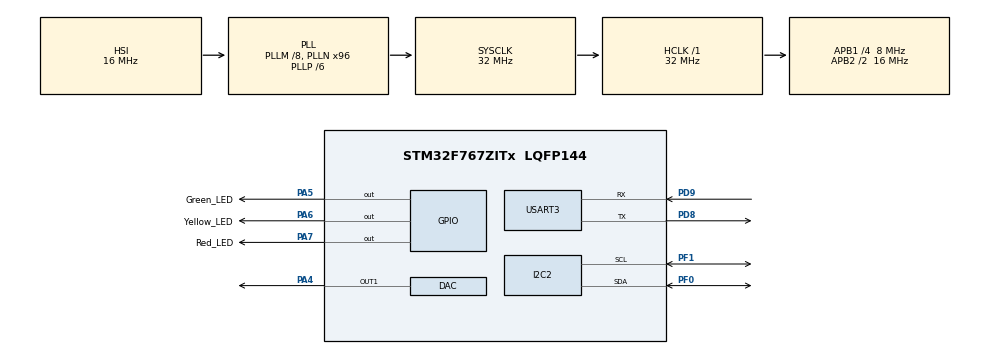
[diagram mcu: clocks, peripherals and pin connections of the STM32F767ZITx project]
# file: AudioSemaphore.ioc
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CORTEX_M7.default_mode_Activation=1
DAC.DAC_Trigger=DAC_TRIGGER_NONE
Dma.DAC1.0.Direction=DMA_MEMORY_TO_PERIPH
Dma.DAC1.0.FIFOMode=DMA_FIFOMODE_DISABLE
Dma.DAC1.0.Instance=DMA1_Stream5
Dma.DAC1.0.MemDataAlignment=DMA_MDATAALIGN_HALFWORD
Dma.DAC1.0.MemInc=DMA_MINC_ENABLE
Dma.DAC1.0.Mode=DMA_CIRCULAR
Dma.DAC1.0.PeriphDataAlignment=DMA_PDATAALIGN_HALFWORD
Dma.DAC1.0.PeriphInc=DMA_PINC_DISABLE
Dma.DAC1.0.Priority=DMA_PRIORITY_LOW
Dma.Request0=DAC1
FREERTOS.Tasks01=decibelMeterTas,2,128,decibelMeterHook,Default,NULL,Dynamic,NULL,NULL;semaphoreTask,2,128,semaphoreHook,Default,NULL,Dynamic,NULL,NULL;speakerTask,3,128,speakerHook,Default,NULL,Dynamic,NULL,NULL
I2C2.Timing=0x2000090E
Mcu.Family=STM32F7
Mcu.Name=STM32F767ZITx
Mcu.Package=LQFP144
NVIC.DMA1_Stream5_IRQn=true\:5\:0\:false\:false\:true\:true\:false\:true\:true
NVIC.I2C2_ER_IRQn=true\:5\:0\:false\:false\:true\:true\:true\:true\:true
NVIC.I2C2_EV_IRQn=true\:5\:0\:false\:false\:true\:true\:true\:true\:true
NVIC.PriorityGroup=NVIC_PRIORITYGROUP_4
NVIC.USART3_IRQn=true\:5\:0\:false\:false\:true\:true\:true\:true\:true
PA4.Signal=COMP_DAC1_group
PA5.GPIO_Label=Green_LED
PA5.Signal=GPIO_Output
PA6.GPIO_Label=Yellow_LED
PA6.Signal=GPIO_Output
PA7.GPIO_Label=Red_LED
PA7.Signal=GPIO_Output
PD8.Mode=Asynchronous
PD8.Signal=USART3_TX
PD9.Mode=Asynchronous
PD9.Signal=USART3_RX
PF0.GPIO_Pu=GPIO_PULLUP
PF0.Mode=I2C
PF0.Signal=I2C2_SDA
PF1.GPIO_Pu=GPIO_PULLUP
PF1.Mode=I2C
PF1.Signal=I2C2_SCL
ProjectManager.HeapSize=0x200
ProjectManager.StackSize=0x400
ProjectManager.TargetToolchain=STM32CubeIDE
RCC.AHBFreq_Value=32000000
RCC.APB1CLKDivider=RCC_HCLK_DIV4
RCC.APB1Freq_Value=8000000
RCC.APB1TimFreq_Value=16000000
RCC.APB2CLKDivider=RCC_HCLK_DIV2
RCC.APB2Freq_Value=16000000
RCC.APB2TimFreq_Value=32000000
RCC.CortexFreq_Value=32000000
RCC.HCLKFreq_Value=32000000
RCC.HSE_VALUE=25000000
RCC.HSI_VALUE=16000000
RCC.LSE_VALUE=32768
RCC.PLLM=8
RCC.PLLN=96
RCC.PLLP=RCC_PLLP_DIV6
RCC.SYSCLKFreq_VALUE=32000000
RCC.SYSCLKSource=RCC_SYSCLKSOURCE_PLLCLK
RCC.USBFreq_Value=96000000
RCC.VCOOutputFreq_Value=192000000
SH.COMP_DAC1_group.0=DAC_OUT1,DAC_OUT1
USART3.VirtualMode-Asynchronous=VM_ASYNC
VP_FREERTOS_VS_CMSIS_V1.Mode=CMSIS_V1
board=custom

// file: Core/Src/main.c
/* USER CODE BEGIN Header */
/**
  ******************************************************************************
  * @file           : main.c
  * @brief          : Main program body
  ******************************************************************************
  * @attention
  *
  * Copyright (c) 2024 STMicroelectronics.
  * All rights reserved.
  *
  * This software is licensed under terms that can be found in the LICENSE file
  * in the root directory of this software component.
  * If no LICENSE file comes with this software, it is provided AS-IS.
  *
  ******************************************************************************
  */
/* USER CODE END Header */
#include "main.h"
#include "cmsis_os.h"

/* USER CODE BEGIN Includes */
#include "math.h"
/* USER CODE END Includes */

/* USER CODE BEGIN PD */
#define threshold_worst 90
#define threshold_bad 80
/* USER CODE END PD */

DAC_HandleTypeDef hdac;
DMA_HandleTypeDef hdma_dac1;

I2C_HandleTypeDef hi2c2;

UART_HandleTypeDef huart3;

osThreadId decibelMeterTasHandle;
osThreadId semaphoreTaskHandle;
osThreadId speakerTaskHandle;
/* USER CODE BEGIN PV */
uint8_t decibels;

/* USER CODE END PV */

void SystemClock_Config(void);
static void MPU_Config(void);
static void MX_GPIO_Init(void);
static void MX_DMA_Init(void);
static void MX_DAC_Init(void);
static void MX_I2C2_Init(void);
static void MX_USART3_UART_Init(void);
void decibelMeterHook(void const * argument);
void semaphoreHook(void const * argument);
void speakerHook(void const * argument);

int main(void)
{

  /* MPU Configuration--------------------------------------------------------*/
  MPU_Config();

  /* MCU Configuration--------------------------------------------------------*/

  /* Reset of all peripherals, Initializes the Flash interface and the Systick. */
  HAL_Init();

  /* Configure the system clock */
  SystemClock_Config();

  /* Initialize all configured peripherals */
  MX_GPIO_Init();
  MX_DMA_Init();
  MX_DAC_Init();
  MX_I2C2_Init();
  MX_USART3_UART_Init();
  /* USER CODE BEGIN 2 */
  HAL_DAC_Start(&hdac, DAC1_CHANNEL_1);
  for (uint8_t addr = 0; addr < 128; addr++) {
      if (HAL_I2C_IsDeviceReady(&hi2c2, addr << 1, 1, HAL_MAX_DELAY) == HAL_OK) {
          char msg[30];
          sprintf(msg, "Device found at 0x%02X\r\n", addr);
          HAL_UART_Transmit(&huart3, (uint8_t *)msg, strlen(msg), HAL_MAX_DELAY);
          break;
      }
  }

  char start_msg[] = "Listening for audio\r\n";
  HAL_UART_Transmit(&huart3, (uint8_t *)start_msg, strlen(start_msg), HAL_MAX_DELAY);

  /* USER CODE END 2 */

  /* Create the thread(s) */
  /* definition and creation of decibelMeterTas */
  osThreadDef(decibelMeterTas, decibelMeterHook, osPriorityHigh, 0, 128);
  decibelMeterTasHandle = osThreadCreate(osThread(decibelMeterTas), NULL);

  /* definition and creation of semaphoreTask */
  osThreadDef(semaphoreTask, semaphoreHook, osPriorityHigh, 0, 128);
  semaphoreTaskHandle = osThreadCreate(osThread(semaphoreTask), NULL);

  /* definition and creation of speakerTask */
  osThreadDef(speakerTask, speakerHook, osPriorityRealtime, 0, 128);
  speakerTaskHandle = osThreadCreate(osThread(speakerTask), NULL);

  /* Start scheduler */
  osKernelStart();

  /* We should never get here as control is now taken by the scheduler */

  /* Infinite loop */
  while (1)
  {

  }
}

void SystemClock_Config(void)
{
  RCC_OscInitTypeDef RCC_OscInitStruct = {0};
  RCC_ClkInitTypeDef RCC_ClkInitStruct = {0};

  /** Configure the main internal regulator output voltage
  */
  __HAL_RCC_PWR_CLK_ENABLE();
  __HAL_PWR_VOLTAGESCALING_CONFIG(PWR_REGULATOR_VOLTAGE_SCALE3);

  /** Initializes the RCC Oscillators according to the specified parameters
  * in the RCC_OscInitTypeDef structure.
  */
  RCC_OscInitStruct.OscillatorType = RCC_OSCILLATORTYPE_HSI;
  RCC_OscInitStruct.HSIState = RCC_HSI_ON;
  RCC_OscInitStruct.HSICalibrationValue = RCC_HSICALIBRATION_DEFAULT;
  RCC_OscInitStruct.PLL.PLLState = RCC_PLL_ON;
  RCC_OscInitStruct.PLL.PLLSource = RCC_PLLSOURCE_HSI;
  RCC_OscInitStruct.PLL.PLLM = 8;
  RCC_OscInitStruct.PLL.PLLN = 96;
  RCC_OscInitStruct.PLL.PLLP = RCC_PLLP_DIV6;
  RCC_OscInitStruct.PLL.PLLQ = 2;
  RCC_OscInitStruct.PLL.PLLR = 2;
  if (HAL_RCC_OscConfig(&RCC_OscInitStruct) != HAL_OK)
  {
    Error_Handler();
  }

  /** Initializes the CPU, AHB and APB buses clocks
  */
  RCC_ClkInitStruct.ClockType = RCC_CLOCKTYPE_HCLK|RCC_CLOCKTYPE_SYSCLK
                              |RCC_CLOCKTYPE_PCLK1|RCC_CLOCKTYPE_PCLK2;
  RCC_ClkInitStruct.SYSCLKSource = RCC_SYSCLKSOURCE_PLLCLK;
  RCC_ClkInitStruct.AHBCLKDivider = RCC_SYSCLK_DIV1;
  RCC_ClkInitStruct.APB1CLKDivider = RCC_HCLK_DIV4;
  RCC_ClkInitStruct.APB2CLKDivider = RCC_HCLK_DIV2;

  if (HAL_RCC_ClockConfig(&RCC_ClkInitStruct, FLASH_LATENCY_1) != HAL_OK)
  {
    Error_Handler();
  }
}

static void MX_DAC_Init(void)
{

  DAC_ChannelConfTypeDef sConfig = {0};

  /** DAC Initialization
  */
  hdac.Instance = DAC;
  if (HAL_DAC_Init(&hdac) != HAL_OK)
  {
    Error_Handler();
  }

  /** DAC channel OUT1 config
  */
  sConfig.DAC_Trigger = DAC_TRIGGER_NONE;
  sConfig.DAC_OutputBuffer = DAC_OUTPUTBUFFER_ENABLE;
  if (HAL_DAC_ConfigChannel(&hdac, &sConfig, DAC_CHANNEL_1) != HAL_OK)
  {
    Error_Handler();
  }

}

static void MX_I2C2_Init(void)
{

  hi2c2.Instance = I2C2;
  hi2c2.Init.Timing = 0x2000090E;
  hi2c2.Init.OwnAddress1 = 0;
  hi2c2.Init.AddressingMode = I2C_ADDRESSINGMODE_7BIT;
  hi2c2.Init.DualAddressMode = I2C_DUALADDRESS_DISABLE;
  hi2c2.Init.OwnAddress2 = 0;
  hi2c2.Init.OwnAddress2Masks = I2C_OA2_NOMASK;
  hi2c2.Init.GeneralCallMode = I2C_GENERALCALL_DISABLE;
  hi2c2.Init.NoStretchMode = I2C_NOSTRETCH_DISABLE;
  if (HAL_I2C_Init(&hi2c2) != HAL_OK)
  {
    Error_Handler();
  }

  /** Configure Analogue filter
  */
  if (HAL_I2CEx_ConfigAnalogFilter(&hi2c2, I2C_ANALOGFILTER_ENABLE) != HAL_OK)
  {
    Error_Handler();
  }

  /** Configure Digital filter
  */
  if (HAL_I2CEx_ConfigDigitalFilter(&hi2c2, 0) != HAL_OK)
  {
    Error_Handler();
  }

}

static void MX_USART3_UART_Init(void)
{

  huart3.Instance = USART3;
  huart3.Init.BaudRate = 115200;
  huart3.Init.WordLength = UART_WORDLENGTH_8B;
  huart3.Init.StopBits = UART_STOPBITS_1;
  huart3.Init.Parity = UART_PARITY_NONE;
  huart3.Init.Mode = UART_MODE_TX_RX;
  huart3.Init.HwFlowCtl = UART_HWCONTROL_NONE;
  huart3.Init.OverSampling = UART_OVERSAMPLING_16;
  huart3.Init.OneBitSampling = UART_ONE_BIT_SAMPLE_DISABLE;
  huart3.AdvancedInit.AdvFeatureInit = UART_ADVFEATURE_NO_INIT;
  if (HAL_UART_Init(&huart3) != HAL_OK)
  {
    Error_Handler();
  }

}

static void MX_DMA_Init(void)
{

  /* DMA controller clock enable */
  __HAL_RCC_DMA1_CLK_ENABLE();

  /* DMA interrupt init */
  /* DMA1_Stream5_IRQn interrupt configuration */
  HAL_NVIC_SetPriority(DMA1_Stream5_IRQn, 5, 0);
  HAL_NVIC_EnableIRQ(DMA1_Stream5_IRQn);

}

static void MX_GPIO_Init(void)
{
  GPIO_InitTypeDef GPIO_InitStruct = {0};

  /* GPIO Ports Clock Enable */
  __HAL_RCC_GPIOF_CLK_ENABLE();
  __HAL_RCC_GPIOA_CLK_ENABLE();
  __HAL_RCC_GPIOD_CLK_ENABLE();

  /*Configure GPIO pin Output Level */
  HAL_GPIO_WritePin(GPIOA, Green_LED_Pin|Yellow_LED_Pin|Red_LED_Pin, GPIO_PIN_RESET);

  /*Configure GPIO pins : Green_LED_Pin Yellow_LED_Pin Red_LED_Pin */
  GPIO_InitStruct.Pin = Green_LED_Pin|Yellow_LED_Pin|Red_LED_Pin;
  GPIO_InitStruct.Mode = GPIO_MODE_OUTPUT_PP;
  GPIO_InitStruct.Pull = GPIO_NOPULL;
  GPIO_InitStruct.Speed = GPIO_SPEED_FREQ_LOW;
  HAL_GPIO_Init(GPIOA, &GPIO_InitStruct);

}

void decibelMeterHook(void const * argument)
{
  /* USER CODE BEGIN 5 */
  TickType_t ticks = pdMS_TO_TICKS(400);

  /* Infinite loop */
  for(;;)
  {
	vTaskDelay(ticks);
	if (HAL_I2C_Mem_Write(&hi2c2, 0x91, 0x0A, I2C_MEMADD_SIZE_8BIT, 0x0A, 1, HAL_MAX_DELAY) != HAL_OK) {
	  char error_msg[] = "I2C Mem Write Error\r\n";
	  HAL_UART_Transmit(&huart3, (uint8_t *)error_msg, strlen(error_msg), HAL_MAX_DELAY);
	  continue;
	}

	if (HAL_I2C_Mem_Read(&hi2c2, 0x91, 0x0A, I2C_MEMADD_SIZE_8BIT, &decibels, 1, HAL_MAX_DELAY) != HAL_OK) {
	  char error_msg[] = "I2C Mem Read Error\r\n";
	  HAL_UART_Transmit(&huart3, (uint8_t *)error_msg, strlen(error_msg), HAL_MAX_DELAY);
	  continue;
	}

	char msg[20];
	sprintf(msg, "Sound level: %d dB\r\n", decibels);
	HAL_UART_Transmit(&huart3, (uint8_t *)msg, strlen(msg), HAL_MAX_DELAY);
  }
  /* USER CODE END 5 */
}

void semaphoreHook(void const * argument)
{
  /* USER CODE BEGIN semaphoreHook */
  TickType_t ticks = pdMS_TO_TICKS(2);
  /* Infinite loop */
  for(;;)
  {
	  HAL_GPIO_WritePin(Green_LED_GPIO_Port, Green_LED_Pin | Red_LED_Pin | Yellow_LED_Pin, GPIO_PIN_RESET);
	  if (decibels >= threshold_worst) {
		  HAL_GPIO_WritePin(Red_LED_GPIO_Port, Red_LED_Pin, GPIO_PIN_SET);
	  } else if (decibels >= threshold_bad) {
		  HAL_GPIO_WritePin(Yellow_LED_GPIO_Port, Yellow_LED_Pin, GPIO_PIN_SET);
	  } else {
		  HAL_GPIO_WritePin(Green_LED_GPIO_Port, Green_LED_Pin, GPIO_PIN_SET);
	  }

	  vTaskDelay(ticks);
  }
  /* USER CODE END semaphoreHook */
}

void speakerHook(void const * argument)
{
  /* USER CODE BEGIN speakerHook */
  TickType_t ticks = pdMS_TO_TICKS(1);
  TickType_t wait = pdMS_TO_TICKS(100);

  /* Infinite loop */
  for(;;) {
      if (decibels >= threshold_worst) {
          HAL_DAC_SetValue(&hdac, DAC_CHANNEL_1, DAC_ALIGN_12B_R, 0);
          vTaskDelay(ticks);
          HAL_DAC_SetValue(&hdac, DAC_CHANNEL_1, DAC_ALIGN_12B_R, (uint32_t) 50);
          vTaskDelay(ticks);
      } else {
    	  vTaskDelay(wait);
      }
  }
  /* USER CODE END speakerHook */
}

 /* MPU Configuration */

void MPU_Config(void)
{
  MPU_Region_InitTypeDef MPU_InitStruct = {0};

  /* Disables the MPU */
  HAL_MPU_Disable();

  /** Initializes and configures the Region and the memory to be protected
  */
  MPU_InitStruct.Enable = MPU_REGION_ENABLE;
  MPU_InitStruct.Number = MPU_REGION_NUMBER0;
  MPU_InitStruct.BaseAddress = 0x0;
  MPU_InitStruct.Size = MPU_REGION_SIZE_4GB;
  MPU_InitStruct.SubRegionDisable = 0x87;
  MPU_InitStruct.TypeExtField = MPU_TEX_LEVEL0;
  MPU_InitStruct.AccessPermission = MPU_REGION_NO_ACCESS;
  MPU_InitStruct.DisableExec = MPU_INSTRUCTION_ACCESS_DISABLE;
  MPU_InitStruct.IsShareable = MPU_ACCESS_SHAREABLE;
  MPU_InitStruct.IsCacheable = MPU_ACCESS_NOT_CACHEABLE;
  MPU_InitStruct.IsBufferable = MPU_ACCESS_NOT_BUFFERABLE;

  HAL_MPU_ConfigRegion(&MPU_InitStruct);
  /* Enables the MPU */
  HAL_MPU_Enable(MPU_PRIVILEGED_DEFAULT);

}

void Error_Handler(void)
{
  __disable_irq();
  while (1)
  {
  }
}
